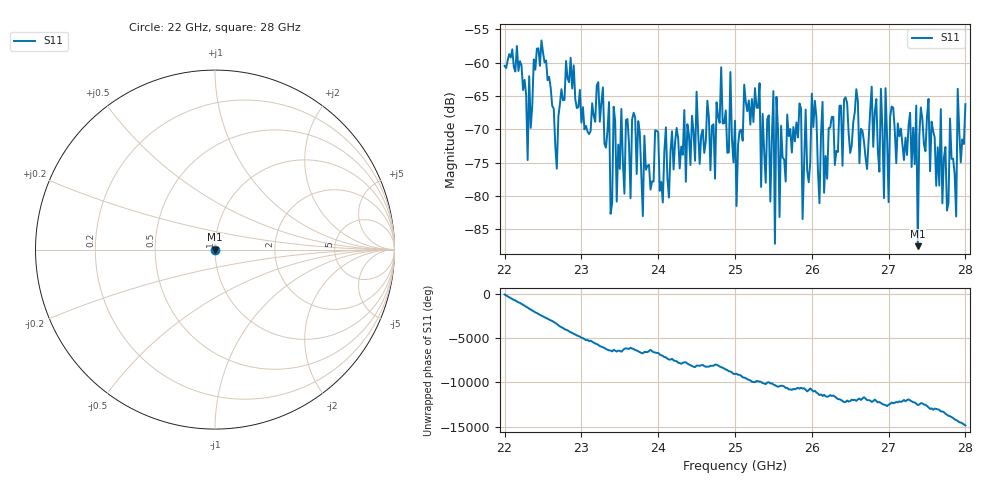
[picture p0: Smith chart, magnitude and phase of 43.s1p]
#  HZ  S  RI  R  50.00
! Rohde & Schwarz ZVA40 4Ports - Version 3.90 - 1145.1110k42 SN: 100403
! Date: 2023-10-04 09:22:52
! Measurement: S12
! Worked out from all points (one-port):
!   301 points, 22 GHz to 28 GHz, reference 50 ohm
!   lowest |S11| = -87.5 dB at 27.38 GHz (marker M1), VSWR 1.00, Z = 50 + j0.00212 ohm
!   |S11| at or under -10 dB: start of sweep to end of sweep
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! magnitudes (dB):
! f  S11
! 22 GHz  -60.5
! 22.3 GHz  -74.6
! 22.32 GHz  -62.0
! 22.48 GHz  -56.6
! 22.68 GHz  -75.9
! 22.76 GHz  -65.6
! 23.5 GHz  -75.9
! 24.26 GHz  -71.3
! 25 GHz  -68.7
! 25.02 GHz  -81.5
! 25.12 GHz  -63.3
! 25.32 GHz  -63.1
! 25.34 GHz  -78.6
! 25.44 GHz  -67.9
! 25.46 GHz  -80.8
! 25.5 GHz  -64.2
! 25.52 GHz  -87.2
! 25.54 GHz  -65.1
! 25.58 GHz  -83.1
! 25.76 GHz  -69.6
! 26.5 GHz  -73.5
! 27.26 GHz  -69.4
! 27.36 GHz  -66.4
! 27.38 GHz  -87.5
! 27.42 GHz  -66.7
! 27.88 GHz  -83.1
! 27.9 GHz  -63.9
! 28 GHz  -66.2
